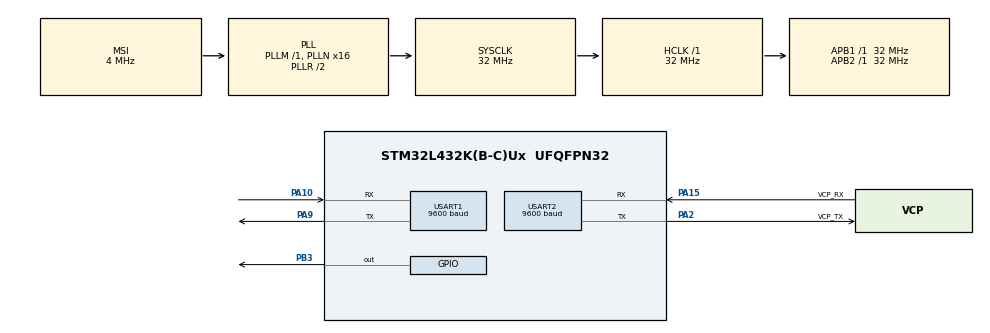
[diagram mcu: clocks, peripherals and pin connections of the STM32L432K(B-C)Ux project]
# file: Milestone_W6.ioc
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Mcu.Family=STM32L4
Mcu.Name=STM32L432K(B-C)Ux
Mcu.Package=UFQFPN32
NVIC.PriorityGroup=NVIC_PRIORITYGROUP_4
NVIC.USART1_IRQn=true\:0\:0\:false\:false\:true\:true\:true\:true
NVIC.USART2_IRQn=true\:0\:0\:false\:false\:true\:true\:true\:true
PA0.GPIO_Label=MCO [High speed clock in]
PA0.Mode=HSE-External-Clock-Source-for-LittleOrca
PA0.Signal=RCC_CK_IN
PA10.Mode=Asynchronous
PA10.Signal=USART1_RX
PA13\ (JTMS-SWDIO).GPIO_Label=SWDIO
PA13\ (JTMS-SWDIO).Mode=Serial_Wire
PA13\ (JTMS-SWDIO).Signal=SYS_JTMS-SWDIO
PA14\ (JTCK-SWCLK).GPIO_Label=SWCLK
PA14\ (JTCK-SWCLK).Mode=Serial_Wire
PA14\ (JTCK-SWCLK).Signal=SYS_JTCK-SWCLK
PA15\ (JTDI).GPIO_Label=VCP_RX
PA15\ (JTDI).Mode=Asynchronous
PA15\ (JTDI).Signal=USART2_RX
PA2.GPIO_Label=VCP_TX
PA2.Mode=Asynchronous
PA2.Signal=USART2_TX
PA9.Mode=Asynchronous
PA9.Signal=USART1_TX
PB3\ (JTDO-TRACESWO).Signal=GPIO_Output
PC14-OSC32_IN\ (PC14).Mode=LSE-External-Oscillator
PC14-OSC32_IN\ (PC14).Signal=RCC_OSC32_IN
PC15-OSC32_OUT\ (PC15).Mode=LSE-External-Oscillator
PC15-OSC32_OUT\ (PC15).Signal=RCC_OSC32_OUT
ProjectManager.HeapSize=0x200
ProjectManager.StackSize=0x400
ProjectManager.TargetToolchain=STM32CubeIDE
RCC.AHBFreq_Value=32000000
RCC.APB1Freq_Value=32000000
RCC.APB1TimFreq_Value=32000000
RCC.APB2Freq_Value=32000000
RCC.APB2TimFreq_Value=32000000
RCC.CortexFreq_Value=32000000
RCC.HCLKFreq_Value=32000000
RCC.HSE_VALUE=8000000
RCC.HSI16_VALUE=16000000
RCC.HSI48_VALUE=48000000
RCC.HSI_VALUE=16000000
RCC.MSI_VALUE=4000000
RCC.PLLMUL=RCC_PLLMUL_4
RCC.PLLN=16
RCC.SYSCLKFreq_VALUE=32000000
RCC.SYSCLKSource=RCC_SYSCLKSOURCE_PLLCLK
RCC.VCOOutputFreq_Value=64000000
USART1.BaudRate=9600
USART1.VirtualMode-Asynchronous=VM_ASYNC
USART2.BaudRate=9600
USART2.VirtualMode-Asynchronous=VM_ASYNC
board=NUCLEO-L432KC

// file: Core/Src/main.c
/* USER CODE BEGIN Header */
/**
  ******************************************************************************
  * @file           : main.c
  * @brief          : Main program body
  ******************************************************************************
  * @attention
  *
  * Copyright (c) 2026 STMicroelectronics.
  * All rights reserved.
  *
  * This software is licensed under terms that can be found in the LICENSE file
  * in the root directory of this software component.
  * If no LICENSE file comes with this software, it is provided AS-IS.
  *
  ******************************************************************************
  */
/* USER CODE END Header */
#include "main.h"

/* USER CODE BEGIN Includes */
#include <string.h>
#include <stdlib.h>
#include <stdio.h>
/* USER CODE END Includes */

UART_HandleTypeDef huart1;
UART_HandleTypeDef huart2;

/* USER CODE BEGIN PV */
volatile uint8_t pc_rx_byte;
volatile uint8_t ring_rx_byte;
char pc_buffer[100];     // Array to build the PC string
char ring_buffer[100];   // Array to build the Ring string
volatile int pc_index = 0;
volatile int ring_index = 0;

volatile int am_i_head = 0;
volatile int token_received = 0;
volatile int token_source = 0;
volatile int ring_halted = 0;     // Flag to freeze the board if checksum fails

// IMPORTANT: Change this for each team mate! (e.g., _22_2, _22_3, _22_4)
char my_id[] = "_12_3";
/* USER CODE END PV */

void SystemClock_Config(void);
static void MX_GPIO_Init(void);
static void MX_USART2_UART_Init(void);
static void MX_USART1_UART_Init(void);

/* USER CODE BEGIN 0 */

// Helper function to calculate XOR checksum of a string
uint8_t calculate_checksum(char* str) {
    uint8_t xor_val = 0;
    for(int i = 0; i < strlen(str); i++) {
        xor_val ^= str[i];
    }
    return xor_val;
}
/* USER CODE END 0 */
int main(void)
{

  /* MCU Configuration--------------------------------------------------------*/

  /* Reset of all peripherals, Initializes the Flash interface and the Systick. */
  HAL_Init();

  /* Configure the system clock */
  SystemClock_Config();

  /* Initialize all configured peripherals */
  MX_GPIO_Init();
  MX_USART2_UART_Init();
  MX_USART1_UART_Init();
  /* USER CODE BEGIN 2 */
  // Ensure the Green LED is off to start
  HAL_GPIO_WritePin(GPIOB, GPIO_PIN_3, GPIO_PIN_RESET);

  // Arm the interrupts to listen for exactly 1 byte on both ports
  HAL_UART_Receive_IT(&huart2, &pc_rx_byte, 1);
  HAL_UART_Receive_IT(&huart1, &ring_rx_byte, 1);
  /* USER CODE END 2 */

  /* Infinite loop */
  /* USER CODE BEGIN WHILE */
      while (1)
      {
          // Only process if we have a token AND the ring hasn't crashed from a bad checksum
          if (token_received == 1 && ring_halted == 0)
          {
              HAL_GPIO_WritePin(GPIOB, GPIO_PIN_3, GPIO_PIN_SET);
              HAL_Delay(250);
              HAL_GPIO_WritePin(GPIOB, GPIO_PIN_3, GPIO_PIN_RESET);

              char tx_buffer[150]; // To hold our newly packaged message

              if (token_source == 1) {
                  // It came from the PC! We just add our ID and calculate the first checksum.
                  strcpy(tx_buffer, pc_buffer);
                  strcat(tx_buffer, my_id);
                  uint8_t checksum = calculate_checksum(tx_buffer);

                  // Format it with the '#' separator and newline: "C_22_1#4F\n"
                  sprintf(tx_buffer + strlen(tx_buffer), "#%02X\n", checksum);
                  HAL_UART_Transmit(&huart1, (uint8_t*)tx_buffer, strlen(tx_buffer), 100);
              }
              else if (token_source == 2) {
                  // It came from the Ring! (Example: "C_22_1#4F")

                  // 1. Find the '#' to separate the string from the checksum
                  char* hash_ptr = strrchr(ring_buffer, '#');

                  if (hash_ptr != NULL) {
                      *hash_ptr = '\0'; // Split the string directly at the '#'
                      char* hex_str = hash_ptr + 1;

                      // 2. Convert the received hex string back to a real math number
                      uint8_t received_checksum = (uint8_t)strtol(hex_str, NULL, 16);

                      // 3. Calculate what the checksum *should* be
                      uint8_t calc_checksum = calculate_checksum(ring_buffer);

                      // 4. Validate!
                      if (calc_checksum != received_checksum) {
                          ring_halted = 1; // Kill the ring
                          HAL_GPIO_WritePin(GPIOB, GPIO_PIN_3, GPIO_PIN_SET); // Error LED ON forever
                      }
                      else {
                          // Checksum is GOOD!
                    	  if (am_i_head == 1) {
                    	                                // Loop finished! Re-attach the checksum so Python can verify it
                    	                                sprintf(tx_buffer, "%s#%02X\n", ring_buffer, calc_checksum);
                    	                                HAL_UART_Transmit(&huart2, (uint8_t*)tx_buffer, strlen(tx_buffer), 100);
                    	                            }
                          else {
                              // We are a Node. Add my ID, calc new checksum, and pass it.
                              strcpy(tx_buffer, ring_buffer);
                              strcat(tx_buffer, my_id);

                              uint8_t new_checksum = calculate_checksum(tx_buffer);
                              sprintf(tx_buffer + strlen(tx_buffer), "#%02X\n", new_checksum);

                              HAL_UART_Transmit(&huart1, (uint8_t*)tx_buffer, strlen(tx_buffer), 100);
                          }
                      }
                  }
              }
              token_received = 0;
              token_source = 0;
          }
      /* USER CODE END WHILE */

  }
}

void SystemClock_Config(void)
{
  RCC_OscInitTypeDef RCC_OscInitStruct = {0};
  RCC_ClkInitTypeDef RCC_ClkInitStruct = {0};

  /** Configure the main internal regulator output voltage
  */
  if (HAL_PWREx_ControlVoltageScaling(PWR_REGULATOR_VOLTAGE_SCALE1) != HAL_OK)
  {
    Error_Handler();
  }

  /** Configure LSE Drive Capability
  */
  HAL_PWR_EnableBkUpAccess();
  __HAL_RCC_LSEDRIVE_CONFIG(RCC_LSEDRIVE_LOW);

  /** Initializes the RCC Oscillators according to the specified parameters
  * in the RCC_OscInitTypeDef structure.
  */
  RCC_OscInitStruct.OscillatorType = RCC_OSCILLATORTYPE_LSE|RCC_OSCILLATORTYPE_MSI;
  RCC_OscInitStruct.LSEState = RCC_LSE_ON;
  RCC_OscInitStruct.MSIState = RCC_MSI_ON;
  RCC_OscInitStruct.MSICalibrationValue = 0;
  RCC_OscInitStruct.MSIClockRange = RCC_MSIRANGE_6;
  RCC_OscInitStruct.PLL.PLLState = RCC_PLL_ON;
  RCC_OscInitStruct.PLL.PLLSource = RCC_PLLSOURCE_MSI;
  RCC_OscInitStruct.PLL.PLLM = 1;
  RCC_OscInitStruct.PLL.PLLN = 16;
  RCC_OscInitStruct.PLL.PLLP = RCC_PLLP_DIV7;
  RCC_OscInitStruct.PLL.PLLQ = RCC_PLLQ_DIV2;
  RCC_OscInitStruct.PLL.PLLR = RCC_PLLR_DIV2;
  if (HAL_RCC_OscConfig(&RCC_OscInitStruct) != HAL_OK)
  {
    Error_Handler();
  }

  /** Initializes the CPU, AHB and APB buses clocks
  */
  RCC_ClkInitStruct.ClockType = RCC_CLOCKTYPE_HCLK|RCC_CLOCKTYPE_SYSCLK
                              |RCC_CLOCKTYPE_PCLK1|RCC_CLOCKTYPE_PCLK2;
  RCC_ClkInitStruct.SYSCLKSource = RCC_SYSCLKSOURCE_PLLCLK;
  RCC_ClkInitStruct.AHBCLKDivider = RCC_SYSCLK_DIV1;
  RCC_ClkInitStruct.APB1CLKDivider = RCC_HCLK_DIV1;
  RCC_ClkInitStruct.APB2CLKDivider = RCC_HCLK_DIV1;

  if (HAL_RCC_ClockConfig(&RCC_ClkInitStruct, FLASH_LATENCY_1) != HAL_OK)
  {
    Error_Handler();
  }

  /** Enable MSI Auto calibration
  */
  HAL_RCCEx_EnableMSIPLLMode();
}

static void MX_USART1_UART_Init(void)
{

  huart1.Instance = USART1;
  huart1.Init.BaudRate = 9600;
  huart1.Init.WordLength = UART_WORDLENGTH_8B;
  huart1.Init.StopBits = UART_STOPBITS_1;
  huart1.Init.Parity = UART_PARITY_NONE;
  huart1.Init.Mode = UART_MODE_TX_RX;
  huart1.Init.HwFlowCtl = UART_HWCONTROL_NONE;
  huart1.Init.OverSampling = UART_OVERSAMPLING_16;
  huart1.Init.OneBitSampling = UART_ONE_BIT_SAMPLE_DISABLE;
  huart1.AdvancedInit.AdvFeatureInit = UART_ADVFEATURE_NO_INIT;
  if (HAL_UART_Init(&huart1) != HAL_OK)
  {
    Error_Handler();
  }

}

static void MX_USART2_UART_Init(void)
{

  huart2.Instance = USART2;
  huart2.Init.BaudRate = 9600;
  huart2.Init.WordLength = UART_WORDLENGTH_8B;
  huart2.Init.StopBits = UART_STOPBITS_1;
  huart2.Init.Parity = UART_PARITY_NONE;
  huart2.Init.Mode = UART_MODE_TX_RX;
  huart2.Init.HwFlowCtl = UART_HWCONTROL_NONE;
  huart2.Init.OverSampling = UART_OVERSAMPLING_16;
  huart2.Init.OneBitSampling = UART_ONE_BIT_SAMPLE_DISABLE;
  huart2.AdvancedInit.AdvFeatureInit = UART_ADVFEATURE_NO_INIT;
  if (HAL_UART_Init(&huart2) != HAL_OK)
  {
    Error_Handler();
  }

}

static void MX_GPIO_Init(void)
{
  GPIO_InitTypeDef GPIO_InitStruct = {0};

  /* GPIO Ports Clock Enable */
  __HAL_RCC_GPIOC_CLK_ENABLE();
  __HAL_RCC_GPIOA_CLK_ENABLE();
  __HAL_RCC_GPIOB_CLK_ENABLE();

  /*Configure GPIO pin Output Level */
  HAL_GPIO_WritePin(GPIOB, GPIO_PIN_3, GPIO_PIN_RESET);

  /*Configure GPIO pin : PB3 */
  GPIO_InitStruct.Pin = GPIO_PIN_3;
  GPIO_InitStruct.Mode = GPIO_MODE_OUTPUT_PP;
  GPIO_InitStruct.Pull = GPIO_NOPULL;
  GPIO_InitStruct.Speed = GPIO_SPEED_FREQ_LOW;
  HAL_GPIO_Init(GPIOB, &GPIO_InitStruct);

}

/* USER CODE BEGIN 4 */
void HAL_UART_RxCpltCallback(UART_HandleTypeDef *huart) {

    if (huart->Instance == USART2) {
        am_i_head = 1;

        // Build the string letter by letter
        if (pc_rx_byte == '\n') {
            pc_buffer[pc_index] = '\0'; // Cap off the string
            pc_index = 0;               // Reset for the next round
            token_source = 1;
            token_received = 1;         // Now trigger the while(1) loop!
        } else if (pc_rx_byte != '\r') {
            // Filter out \r to prevent checksum mismatch with Python's .strip()
            // Memory overflow protection strictly preserved
            if (pc_index < 99) {
                pc_buffer[pc_index++] = pc_rx_byte;
            }
        }
        HAL_UART_Receive_IT(&huart2, &pc_rx_byte, 1);
    }

    else if (huart->Instance == USART1) {
        if (ring_rx_byte == '\n') {
            ring_buffer[ring_index] = '\0';
            ring_index = 0;
            token_source = 2;
            token_received = 1;
        } else if (ring_rx_byte != '\r') {
            // Filter out \r to prevent checksum mismatch
            // Memory overflow protection strictly preserved
            if (ring_index < 99) {
                ring_buffer[ring_index++] = ring_rx_byte;
            }
        }
        HAL_UART_Receive_IT(&huart1, &ring_rx_byte, 1);
    }
}
/* USER CODE END 4 */

void Error_Handler(void)
{
  __disable_irq();
  while (1)
  {
  }
}
